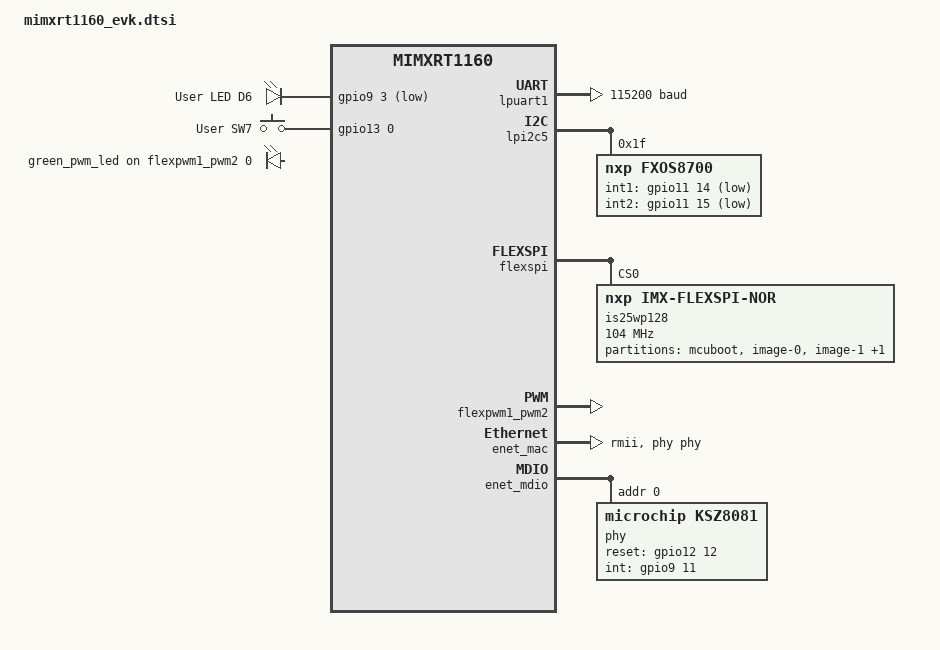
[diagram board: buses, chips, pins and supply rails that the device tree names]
/*
 * Copyright (c) 2021, NXP
 *
 * SPDX-License-Identifier: Apache-2.0
 */

#include "mimxrt1160_evk-pinctrl.dtsi"
#include <nxp/nxp_rt1160.dtsi>
#include <zephyr/dt-bindings/input/input-event-codes.h>

/ {
	aliases {
		led0 = &green_led;
		sw0 = &user_button;
		magn0 = &fxos8700;
		accel0 = &fxos8700;
		sdhc0 = &usdhc1;
		mcuboot-button0 = &user_button;
	};

	leds {
		compatible = "gpio-leds";

		green_led: led-1 {
			gpios = <&gpio9 3 GPIO_ACTIVE_LOW>;
			label = "User LED D6";
		};
	};

	gpio_keys {
		compatible = "gpio-keys";

		user_button: button-1 {
			label = "User SW7";
			gpios = <&gpio13 0 GPIO_ACTIVE_HIGH>;
			zephyr,code = <INPUT_KEY_0>;
		};
	};

	pwmleds {
		compatible = "pwm-leds";

		green_pwm_led: green_pwm_led {
			pwms = <&flexpwm1_pwm2 0 PWM_MSEC(20) PWM_POLARITY_NORMAL>;
		};
	};
};

&lpuart1 {
	current-speed = <115200>;
	pinctrl-0 = <&pinmux_lpuart1>;
	pinctrl-1 = <&pinmux_lpuart1_sleep>;
	pinctrl-names = "default", "sleep";
	status = "okay";
};

&lpuart2 {
	pinctrl-0 = <&pinmux_lpuart2>;
	pinctrl-1 = <&pinmux_lpuart2_sleep>;
	pinctrl-names = "default", "sleep";
};

&user_button {
	status = "okay";
};

&green_led {
	status = "okay";
};

&lpi2c5 {
	pinctrl-0 = <&pinmux_lpi2c5>;
	pinctrl-names = "default";
	status = "okay";

	fxos8700: fxos8700@1f {
		compatible = "nxp,fxos8700";
		reg = <0x1f>;

		/* Two zero ohm resistors (R256 and R270) isolate sensor
		 * interrupt gpios from the soc and are unpopulated by default.
		 * Note that if you populate them, they conflict with camera and
		 * ethernet PHY reset signals.
		 */
		int1-gpios = <&gpio11 14 GPIO_ACTIVE_LOW>;
		int2-gpios = <&gpio11 15 GPIO_ACTIVE_LOW>;
	};
};

&flexspi {
	reg = <0x400cc000 0x4000>, <0x30000000 DT_SIZE_M(16)>;
	ahb-prefetch;
	ahb-read-addr-opt;
	rx-clock-source = <1>;
	status = "okay";

	is25wp128: is25wp128@0 {
		compatible = "nxp,imx-flexspi-nor";
		reg = <0>;
		size = <DT_SIZE_M(16*8)>;
		spi-max-frequency = <DT_FREQ_M(104)>;
		jedec-id = [9d 70 18];
		erase-block-size = <4096>;
		write-block-size = <1>;
		status = "okay";

		partitions {
			compatible = "fixed-partitions";
			#address-cells = <1>;
			#size-cells = <1>;

			/*
			 * Partition sizes must be aligned
			 * to the flash memory sector size of 4KB.
			 */
			boot_partition: partition@0 {
				reg = <0x00000000 DT_SIZE_K(128)>;
				label = "mcuboot";
			};

			slot0_partition: partition@20000 {
				reg = <0x00020000 DT_SIZE_M(7)>;
				label = "image-0";
			};

			slot1_partition: partition@720000 {
				reg = <0x00720000 DT_SIZE_M(7)>;
				label = "image-1";
			};

			storage_partition: partition@E20000 {
				reg = <0x00E20000 (DT_SIZE_M(2) - DT_SIZE_K(128))>;
				label = "storage";
			};
		};
	};
};

&flexpwm1_pwm2 {
	pinctrl-0 = <&pinmux_flexpwm1>;
	pinctrl-names = "default";
	status = "okay";
};

&enet_mac {
	pinctrl-0 = <&pinmux_enet>;
	pinctrl-names = "default";
	phy-handle = <&phy>;
	phy-connection-type = "rmii";
	zephyr,random-mac-address;
	status = "okay";
};

&enet_mdio {
	pinctrl-0 = <&pinmux_enet_mdio>;
	pinctrl-names = "default";
	status = "okay";

	phy: phy@0 {
		compatible = "microchip,ksz8081";
		reg = <0>;
		reset-gpios = <&gpio12 12 GPIO_ACTIVE_HIGH>;
		int-gpios = <&gpio9 11 GPIO_ACTIVE_HIGH>;
		microchip,interface-type = "rmii";
		status = "okay";
	};
};

&enet_ptp_clock {
	pinctrl-0 = <&pinmux_ptp>;
	pinctrl-names = "default";
	status = "okay";
};

&csi {
	pinctrl-0 = <&pinmux_csi>;
	pinctrl-names = "default";
};

&flexcan3 {
	pinctrl-0 = <&pinmux_flexcan3>;
	pinctrl-names = "default";
};

&lcdif {
	pinctrl-0 = <&pinmux_lcdif>;
	pinctrl-names = "default";
};

&lpi2c1 {
	pinctrl-0 = <&pinmux_lpi2c1>;
	pinctrl-names = "default";
};

&lpspi1 {
	pinctrl-0 = <&pinmux_lpspi1>;
	pinctrl-names = "default";
};

&lpuart2 {
	pinctrl-0 = <&pinmux_lpuart2>;
	pinctrl-1 = <&pinmux_lpuart2_sleep>;
	pinctrl-names = "default", "sleep";
};

&sai1 {
	pinctrl-0 = <&pinmux_sai1>;
	pinctrl-names = "default";
};

&lpadc1 {
	pinctrl-0 = <&pinmux_lpadc1>;
	pinctrl-names = "default";
};

&flexspi {
	pinctrl-0 = <&pinmux_flexspi1>;
	pinctrl-names = "default";
};

&usdhc1 {
	pinctrl-0 = <&pinmux_usdhc1>;
	pinctrl-1 = <&pinmux_usdhc1_dat3_nopull>;
	pinctrl-names = "default", "nopull";
};
